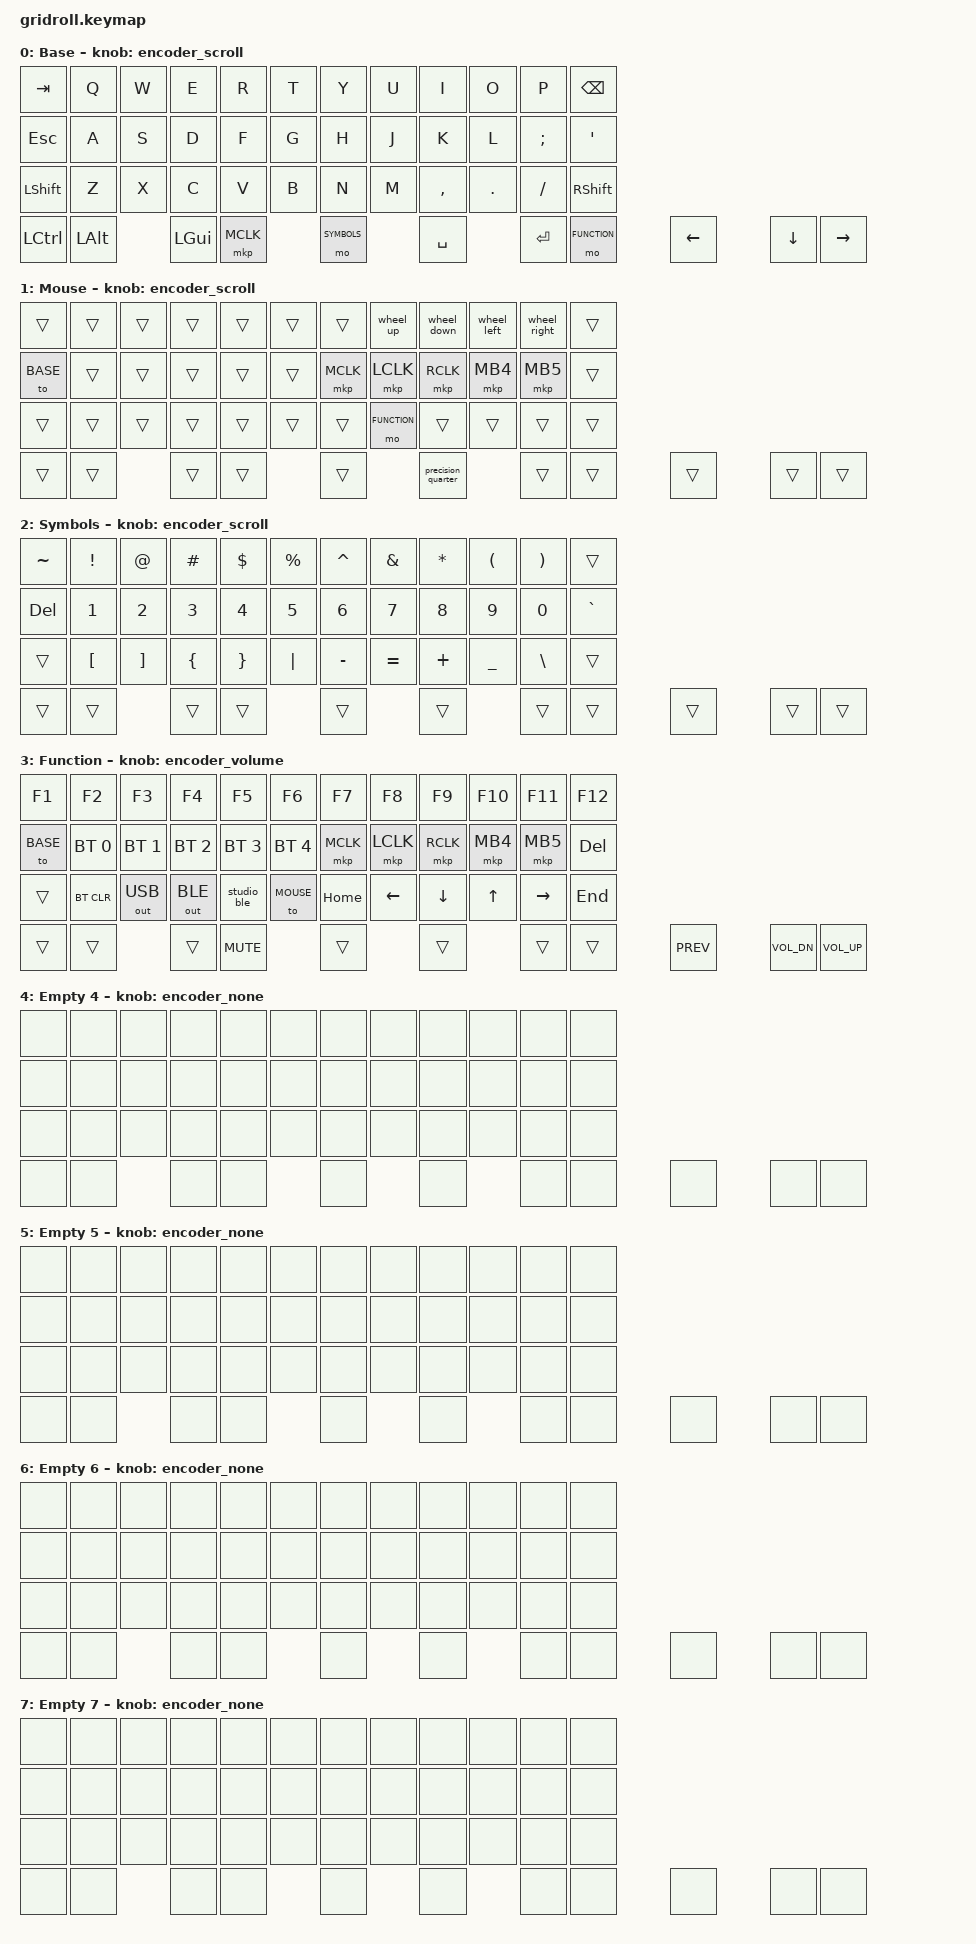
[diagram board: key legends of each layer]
// SPDX-License-Identifier: MIT
// Conventional Planck-style QWERTY / Lower / Raise, adapted to GridRoll's
// existing 47-key order. No QMK implementation code is included.
#include <behaviors.dtsi>
#include <behaviors/runtime-sensor-rotate.dtsi>
#include <dt-bindings/zmk/keys.h>
#include <dt-bindings/zmk/bt.h>
#include <dt-bindings/zmk/outputs.h>
#include <dt-bindings/zmk/pointing.h>
#include <zephyr/dt-bindings/input/input-event-codes.h>
#include <input/processors/runtime-input-processor.dtsi>
#define BASE 0
#define MOUSE 1
#define SYMBOLS 2
#define FUNCTION 3
/ {
    keymap {
        compatible = "zmk,keymap";
        base {
            display-name = "Base";
            bindings = <
                &kp TAB &kp Q &kp W &kp E &kp R &kp T &kp Y &kp U &kp I &kp O &kp P &kp BSPC
                &kp ESC &kp A &kp S &kp D &kp F &kp G &kp H &kp J &kp K &kp L &kp SEMI &kp SQT
                &kp LSHFT &kp Z &kp X &kp C &kp V &kp B &kp N &kp M &kp COMMA &kp DOT &kp FSLH &kp RSHFT
                &kp LCTRL &kp LALT &kp LGUI &mkp MCLK &mo SYMBOLS &kp SPACE &kp RET &mo FUNCTION &kp LEFT &kp DOWN &kp RIGHT
            >;
            sensor-bindings = <&encoder_scroll>;
        };
        mouse {
            display-name = "Mouse";
            bindings = <
                &trans &trans &trans &trans &trans &trans &trans &wheel_up &wheel_down &wheel_left &wheel_right &trans
                &to BASE &trans &trans &trans &trans &trans &mkp MCLK &mkp LCLK &mkp RCLK &mkp MB4 &mkp MB5 &trans
                &trans &trans &trans &trans &trans &trans &trans &mo FUNCTION &trans &trans &trans &trans
                &trans &trans &trans &trans &trans &precision_quarter &trans &trans &trans &trans &trans
            >;
            sensor-bindings = <&encoder_scroll>;
        };
        symbols {
            display-name = "Symbols";
            bindings = <
                &kp TILDE &kp EXCL &kp AT &kp HASH &kp DOLLAR &kp PRCNT &kp CARET &kp AMPS &kp ASTRK &kp LPAR &kp RPAR &trans
                &kp DEL &kp N1 &kp N2 &kp N3 &kp N4 &kp N5 &kp N6 &kp N7 &kp N8 &kp N9 &kp N0 &kp GRAVE
                &trans &kp LBKT &kp RBKT &kp LBRC &kp RBRC &kp PIPE &kp MINUS &kp EQUAL &kp PLUS &kp UNDER &kp BSLH &trans
                &trans &trans &trans &trans &trans &trans &trans &trans &trans &trans &trans
            >;
            sensor-bindings = <&encoder_scroll>;
        };
        function {
            display-name = "Function";
            bindings = <
                &kp F1 &kp F2 &kp F3 &kp F4 &kp F5 &kp F6 &kp F7 &kp F8 &kp F9 &kp F10 &kp F11 &kp F12
                &to BASE &bt BT_SEL 0 &bt BT_SEL 1 &bt BT_SEL 2 &bt BT_SEL 3 &bt BT_SEL 4 &mkp MCLK &mkp LCLK &mkp RCLK &mkp MB4 &mkp MB5 &kp DEL
                &trans &bt BT_CLR &out OUT_USB &out OUT_BLE &studio_ble &to MOUSE &kp HOME &kp LEFT &kp DOWN &kp UP &kp RIGHT &kp END
                &trans &trans &trans &kp C_MUTE &trans &trans &trans &trans &kp C_PREV &kp C_VOL_DN &kp C_VOL_UP
            >;
            sensor-bindings = <&encoder_volume>;
        };
        empty4 {
            display-name = "Empty 4";
            bindings = <
                &none &none &none &none &none &none &none &none &none &none &none &none
                &none &none &none &none &none &none &none &none &none &none &none &none
                &none &none &none &none &none &none &none &none &none &none &none &none
                &none &none &none &none &none &none &none &none &none &none &none
            >;
            sensor-bindings = <&encoder_none>;
        };
        empty5 {
            display-name = "Empty 5";
            bindings = <
                &none &none &none &none &none &none &none &none &none &none &none &none
                &none &none &none &none &none &none &none &none &none &none &none &none
                &none &none &none &none &none &none &none &none &none &none &none &none
                &none &none &none &none &none &none &none &none &none &none &none
            >;
            sensor-bindings = <&encoder_none>;
        };
        empty6 {
            display-name = "Empty 6";
            bindings = <
                &none &none &none &none &none &none &none &none &none &none &none &none
                &none &none &none &none &none &none &none &none &none &none &none &none
                &none &none &none &none &none &none &none &none &none &none &none &none
                &none &none &none &none &none &none &none &none &none &none &none
            >;
            sensor-bindings = <&encoder_none>;
        };
        empty7 {
            display-name = "Empty 7";
            bindings = <
                &none &none &none &none &none &none &none &none &none &none &none &none
                &none &none &none &none &none &none &none &none &none &none &none &none
                &none &none &none &none &none &none &none &none &none &none &none &none
                &none &none &none &none &none &none &none &none &none &none &none
            >;
            sensor-bindings = <&encoder_none>;
        };
    };
    behaviors {
        studio_ble: studio_ble {
            compatible = "gridroll,behavior-studio-ble";
            #binding-cells = <0>;
            display-name = "Studio BLE discover (60s)";
        };
        encoder_none: encoder_none {
            compatible = "zmk,behavior-runtime-sensor-rotate";
            #sensor-binding-cells = <0>;
            tap-ms = <5>;
            cw-binding = <&none>;
            ccw-binding = <&none>;
        };
        precision_quarter: precision_quarter {
            compatible = "gridroll,behavior-precision";
            #binding-cells = <0>;
            display-name = "Precision 0.25x (hold)";
            processor-name = "mouse";
        };
        wheel_down: wheel_down {
            compatible = "gridroll,behavior-wheel-step";
            #binding-cells = <0>;
            display-name = "wheel down";
            input-code = <INPUT_REL_WHEEL>;
            step = <(-1)>;
        };
        wheel_up: wheel_up {
            compatible = "gridroll,behavior-wheel-step";
            #binding-cells = <0>;
            display-name = "wheel up";
            input-code = <INPUT_REL_WHEEL>;
            step = <(1)>;
        };
        wheel_left: wheel_left {
            compatible = "gridroll,behavior-wheel-step";
            #binding-cells = <0>;
            display-name = "wheel left";
            input-code = <INPUT_REL_HWHEEL>;
            step = <(-1)>;
        };
        wheel_right: wheel_right {
            compatible = "gridroll,behavior-wheel-step";
            #binding-cells = <0>;
            display-name = "wheel right";
            input-code = <INPUT_REL_HWHEEL>;
            step = <(1)>;
        };
        encoder_scroll: encoder_scroll {
            compatible = "zmk,behavior-runtime-sensor-rotate";
            #sensor-binding-cells = <0>;
            tap-ms = <5>;
            cw-binding = <&wheel_up>;
            ccw-binding = <&wheel_down>;
        };
        encoder_volume: encoder_volume {
            compatible = "zmk,behavior-runtime-sensor-rotate";
            #sensor-binding-cells = <0>;
            tap-ms = <5>;
            cw-binding = <&kp C_VOL_UP>;
            ccw-binding = <&kp C_VOL_DN>;
        };
    };
    gridroll_scroll: gridroll_scroll {
        compatible = "zmk,input-processor-runtime";
        processor-label = "scroll";
        type = <INPUT_EV_REL>;
        x-codes = <INPUT_REL_X>;
        y-codes = <INPUT_REL_Y>;
        scale-multiplier = <1>;
        scale-divisor = <60>;
        track-remainders;
        xy-to-scroll-enabled;
        #input-processor-cells = <0>;
    };
};
&mouse_runtime_input_processor {
    temp-layer-enabled;
    temp-layer = <MOUSE>;
    // Typing guard, not a requirement to keep moving for this duration.
    temp-layer-activation-delay-ms = <200>;
    temp-layer-deactivation-delay-ms = <1200>;
};
&trackball_listener {
    input-processors = <&mouse_runtime_input_processor>;
    scroll_layer {
        layers = <FUNCTION>;
        input-processors = <&gridroll_scroll>;
    };
};
